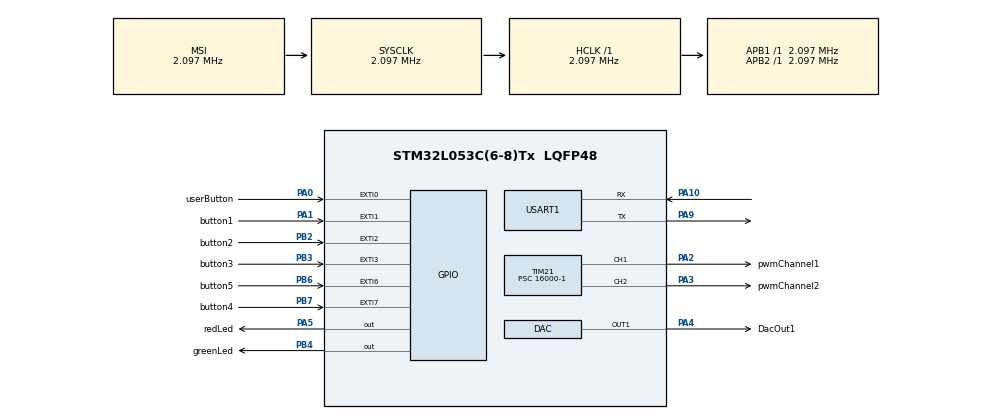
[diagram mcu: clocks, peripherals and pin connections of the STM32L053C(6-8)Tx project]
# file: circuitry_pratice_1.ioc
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DAC.DAC_Trigger=DAC_TRIGGER_T6_TRGO
Dma.DAC_CH1.0.Direction=DMA_MEMORY_TO_PERIPH
Dma.DAC_CH1.0.Instance=DMA1_Channel2
Dma.DAC_CH1.0.MemDataAlignment=DMA_MDATAALIGN_HALFWORD
Dma.DAC_CH1.0.MemInc=DMA_MINC_ENABLE
Dma.DAC_CH1.0.Mode=DMA_CIRCULAR
Dma.DAC_CH1.0.PeriphDataAlignment=DMA_PDATAALIGN_HALFWORD
Dma.DAC_CH1.0.PeriphInc=DMA_PINC_DISABLE
Dma.DAC_CH1.0.Priority=DMA_PRIORITY_HIGH
Dma.Request0=DAC_CH1
Mcu.Family=STM32L0
Mcu.Name=STM32L053C(6-8)Tx
Mcu.Package=LQFP48
NVIC.DMA1_Channel2_3_IRQn=true\:0\:0\:false\:false\:true
NVIC.EXTI0_1_IRQn=true\:0\:0\:false\:true\:true\:1
NVIC.EXTI2_3_IRQn=true\:0\:0\:false\:true\:true\:2
NVIC.EXTI4_15_IRQn=true\:0\:0\:false\:true\:true\:3
NVIC.TIM21_IRQn=true\:0\:0\:false\:true\:true\:5
NVIC.TIM2_IRQn=true\:0\:0\:false\:true\:true\:4
NVIC.USART1_IRQn=true\:0\:0\:false\:false\:true
PA0.GPIO_Label=userButton
PA0.GPIO_ModeDefaultEXTI=GPIO_MODE_IT_RISING_FALLING
PA0.GPIO_PuPd=GPIO_PULLDOWN
PA0.Signal=GPXTI0
PA1.GPIO_Label=button1
PA1.GPIO_ModeDefaultEXTI=GPIO_MODE_IT_RISING_FALLING
PA1.GPIO_PuPd=GPIO_PULLDOWN
PA1.Signal=GPXTI1
PA10.Mode=Asynchronous
PA10.Signal=USART1_RX
PA2.GPIO_Label=pwmChannel1
PA2.GPIO_ModeDefaultPP=GPIO_MODE_AF_PP
PA2.GPIO_PuPd=GPIO_PULLUP
PA2.GPIO_Speed=GPIO_SPEED_FREQ_VERY_HIGH
PA2.Signal=S_TIM21_CH1
PA3.GPIO_Label=pwmChannel2
PA3.Signal=S_TIM21_CH2
PA4.GPIO_Label=DacOut1
PA4.Signal=COMP_DAC1_group
PA5.GPIO_Label=redLed
PA5.GPIO_PuPd=GPIO_PULLDOWN
PA5.Signal=GPIO_Output
PA9.Mode=Asynchronous
PA9.Signal=USART1_TX
PB2.GPIO_Label=button2
PB2.GPIO_ModeDefaultEXTI=GPIO_MODE_IT_RISING_FALLING
PB2.GPIO_PuPd=GPIO_PULLDOWN
PB2.Signal=GPXTI2
PB3.GPIO_Label=button3
PB3.GPIO_ModeDefaultEXTI=GPIO_MODE_IT_RISING_FALLING
PB3.GPIO_PuPd=GPIO_PULLDOWN
PB3.Signal=GPXTI3
PB4.GPIO_Label=greenLed
PB4.GPIO_PuPd=GPIO_PULLDOWN
PB4.Signal=GPIO_Output
PB6.GPIO_Label=button5
PB6.GPIO_ModeDefaultEXTI=GPIO_MODE_IT_RISING_FALLING
PB6.GPIO_PuPd=GPIO_PULLDOWN
PB6.Signal=GPXTI6
PB7.GPIO_Label=button4
PB7.GPIO_ModeDefaultEXTI=GPIO_MODE_IT_RISING_FALLING
PB7.GPIO_PuPd=GPIO_PULLDOWN
PB7.Signal=GPXTI7
ProjectManager.HeapSize=0x200
ProjectManager.StackSize=0x400
ProjectManager.TargetToolchain=MDK-ARM V5
RCC.AHBFreq_Value=2097000
RCC.APB1Freq_Value=2097000
RCC.APB1TimFreq_Value=2097000
RCC.APB2Freq_Value=2097000
RCC.APB2TimFreq_Value=2097000
RCC.HSE_VALUE=8000000
RCC.HSI16_VALUE=16000000
RCC.HSI48_VALUE=48000000
RCC.HSI_VALUE=16000000
RCC.LSE_VALUE=32768
RCC.MSI_VALUE=2097000
RCC.SYSCLKFreq_VALUE=2097000
RCC.VCOOutputFreq_Value=48000000
SH.COMP_DAC1_group.0=DAC_OUT1,DAC_OUT1
SH.S_TIM21_CH1.0=TIM21_CH1,PWM Generation1 CH1
SH.S_TIM21_CH2.0=TIM21_CH2,PWM Generation2 CH2
TIM2.Period=1
TIM2.Prescaler=16000-1
TIM21.Channel-PWM\ Generation1\ CH1=TIM_CHANNEL_1
TIM21.Channel-PWM\ Generation2\ CH2=TIM_CHANNEL_2
TIM21.Period=0
TIM21.Prescaler=16000-1
TIM21.TIM_MasterOutputTrigger=TIM_TRGO_UPDATE
TIM6.Period=32768
TIM6.TIM_MasterOutputTrigger=TIM_TRGO_UPDATE
USART1.VirtualMode-Asynchronous=VM_ASYNC
VP_TIM21_VS_ClockSourceINT.Mode=Internal
VP_TIM2_VS_ClockSourceINT.Mode=Internal
VP_TIM6_VS_ClockSourceINT.Mode=Enable_Timer
board=circuitry_pratice_1

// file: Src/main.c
/**
  ******************************************************************************
  * File Name          : main.c
  * Description        : Main program body
  ******************************************************************************
  ** This notice applies to any and all portions of this file
  * that are not between comment pairs USER CODE BEGIN and
  * USER CODE END. Other portions of this file, whether
  * inserted by the user or by software development tools
  * are owned by their respective copyright owners.
  *
  * COPYRIGHT(c) 2018 STMicroelectronics
  *
  * Redistribution and use in source and binary forms, with or without modification,
  * are permitted provided that the following conditions are met:
  *   1. Redistributions of source code must retain the above copyright notice,
  *      this list of conditions and the following disclaimer.
  *   2. Redistributions in binary form must reproduce the above copyright notice,
  *      this list of conditions and the following disclaimer in the documentation
  *      and/or other materials provided with the distribution.
  *   3. Neither the name of STMicroelectronics nor the names of its contributors
  *      may be used to endorse or promote products derived from this software
  *      without specific prior written permission.
  *
  * THIS SOFTWARE IS PROVIDED BY THE COPYRIGHT HOLDERS AND CONTRIBUTORS "AS IS"
  * AND ANY EXPRESS OR IMPLIED WARRANTIES, INCLUDING, BUT NOT LIMITED TO, THE
  * IMPLIED WARRANTIES OF MERCHANTABILITY AND FITNESS FOR A PARTICULAR PURPOSE ARE
  * DISCLAIMED. IN NO EVENT SHALL THE COPYRIGHT HOLDER OR CONTRIBUTORS BE LIABLE
  * FOR ANY DIRECT, INDIRECT, INCIDENTAL, SPECIAL, EXEMPLARY, OR CONSEQUENTIAL
  * DAMAGES (INCLUDING, BUT NOT LIMITED TO, PROCUREMENT OF SUBSTITUTE GOODS OR
  * SERVICES; LOSS OF USE, DATA, OR PROFITS; OR BUSINESS INTERRUPTION) HOWEVER
  * CAUSED AND ON ANY THEORY OF LIABILITY, WHETHER IN CONTRACT, STRICT LIABILITY,
  * OR TORT (INCLUDING NEGLIGENCE OR OTHERWISE) ARISING IN ANY WAY OUT OF THE USE
  * OF THIS SOFTWARE, EVEN IF ADVISED OF THE POSSIBILITY OF SUCH DAMAGE.
  *
  ******************************************************************************
  */
#include "main.h"
#include "stm32l0xx_hal.h"
#include "dac.h"
#include "dma.h"
#include "tim.h"
#include "usart.h"
#include "gpio.h"

/* USER CODE BEGIN PV */
/* Private variables ---------------------------------------------------------*/

/* USER CODE END PV */

void SystemClock_Config(void);
static void MX_NVIC_Init(void);

/* USER CODE BEGIN PFP */
/* Private function prototypes -----------------------------------------------*/

/* USER CODE END PFP */

/* USER CODE BEGIN 0 */
void HAL_TIM_PWM_MspInit(TIM_HandleTypeDef* htim_pwm)
{
	// NAH
}

void buttonPress(void){
	if (1){ // PHYSICAL BUTTON AT PA1 PRESSED
		toggleGreen();
		//greenLed_GPIO_Port->ODR ^= greenLed_Pin;
	}

}

void pwmInterrupt(void){
	toggleRed();

}

void pwmSetvalue(uint16_t value)
{
    TIM_OC_InitTypeDef sConfigOC;

    sConfigOC.OCMode = TIM_OCMODE_PWM1;
    sConfigOC.Pulse = value;
    sConfigOC.OCPolarity = TIM_OCPOLARITY_HIGH;
    sConfigOC.OCFastMode = TIM_OCFAST_DISABLE;
    HAL_TIM_PWM_ConfigChannel(&htim21, &sConfigOC, TIM_CHANNEL_1);
    HAL_TIM_PWM_Start(&htim21, TIM_CHANNEL_1);
}
/* USER CODE END 0 */

int main(void)
{

  /* MCU Configuration----------------------------------------------------------*/

  /* Reset of all peripherals, Initializes the Flash interface and the Systick. */
  HAL_Init();

  /* USER CODE BEGIN Init */
	HAL_TIM_PWM_DeInit(&htim21);
  /* USER CODE END Init */

  /* Configure the system clock */
  SystemClock_Config();

  /* Initialize all configured peripherals */
  MX_GPIO_Init();
  MX_DMA_Init();
  MX_USART1_UART_Init();
  MX_TIM2_Init();
  MX_TIM21_Init();
  MX_DAC_Init();
  MX_TIM6_Init();

  /* Initialize interrupts */
  MX_NVIC_Init();

  /* Infinite loop */
  /* USER CODE BEGIN WHILE */
	uint16_t pwm_value = 0;
	int16_t step = 100;
	if (HAL_TIM_Base_Start(&htim21) != HAL_OK){
		toggleRed();
	}
	if (HAL_TIM_PWM_Start(&htim21, TIM_CHANNEL_1) != HAL_OK){
		toggleRed();
	}

	//HAL_TIM_Base_Start(&htim6);
  HAL_DAC_Start_DMA(&hdac, DAC_CHANNEL_1, (uint32_t*)sine_wave_array, 32, DAC_ALIGN_12B_R);

  while (1)
  {
  /* USER CODE END WHILE */
  /* USER CODE BEGIN 3 */
		b0 = userButton_GPIO_Port->IDR & userButton_Pin;
		b1 = button1_GPIO_Port->IDR & button1_Pin;
		b2 = button2_GPIO_Port->IDR & button2_Pin;
		b3 = button3_GPIO_Port->IDR & button3_Pin;
		b4 = button4_GPIO_Port->IDR & button4_Pin;
		b5 = button5_GPIO_Port->IDR & button5_Pin;

		if (b0){
			period = 0;
		} else if(b1){
			period = 32 * 100;
		} else if(b2){
			period = 32 * 200;
		} else if(b3){
			period = 32 * 300;
		} else if(b4){
			period = 32 * 400;
		} else if(b5){
			period = 32 * 500;
		} else {
			period = 0;
		}

		if (b0 | b1 | b2 | b3 | b4 | b5 > 0){ // if any button is pushed
			greenLed_GPIO_Port->ODR = greenLed_GPIO_Port->ODR | greenLed_Pin; // turn green on
			__HAL_TIM_SET_AUTORELOAD(&htim6, period);
			HAL_TIM_Base_Start(&htim6);
			HAL_DAC_Start(&hdac,DAC_CHANNEL_1);
		} else {
			greenLed_GPIO_Port->ODR = greenLed_GPIO_Port->ODR & ~greenLed_Pin; // turn green off
			HAL_TIM_Base_Stop(&htim6);
			HAL_DAC_Stop(&hdac, DAC_CHANNEL_1);
		}

  }
  /* USER CODE END 3 */

}

/** System Clock Configuration
*/
void SystemClock_Config(void)
{

  RCC_OscInitTypeDef RCC_OscInitStruct;
  RCC_ClkInitTypeDef RCC_ClkInitStruct;
  RCC_PeriphCLKInitTypeDef PeriphClkInit;

    /**Configure the main internal regulator output voltage
    */
  __HAL_PWR_VOLTAGESCALING_CONFIG(PWR_REGULATOR_VOLTAGE_SCALE1);

    /**Initializes the CPU, AHB and APB busses clocks
    */
  RCC_OscInitStruct.OscillatorType = RCC_OSCILLATORTYPE_MSI;
  RCC_OscInitStruct.MSIState = RCC_MSI_ON;
  RCC_OscInitStruct.MSICalibrationValue = 0;
  RCC_OscInitStruct.MSIClockRange = RCC_MSIRANGE_5;
  RCC_OscInitStruct.PLL.PLLState = RCC_PLL_NONE;
  if (HAL_RCC_OscConfig(&RCC_OscInitStruct) != HAL_OK)
  {
    _Error_Handler(__FILE__, __LINE__);
  }

    /**Initializes the CPU, AHB and APB busses clocks
    */
  RCC_ClkInitStruct.ClockType = RCC_CLOCKTYPE_HCLK|RCC_CLOCKTYPE_SYSCLK
                              |RCC_CLOCKTYPE_PCLK1|RCC_CLOCKTYPE_PCLK2;
  RCC_ClkInitStruct.SYSCLKSource = RCC_SYSCLKSOURCE_MSI;
  RCC_ClkInitStruct.AHBCLKDivider = RCC_SYSCLK_DIV1;
  RCC_ClkInitStruct.APB1CLKDivider = RCC_HCLK_DIV1;
  RCC_ClkInitStruct.APB2CLKDivider = RCC_HCLK_DIV1;

  if (HAL_RCC_ClockConfig(&RCC_ClkInitStruct, FLASH_LATENCY_0) != HAL_OK)
  {
    _Error_Handler(__FILE__, __LINE__);
  }

  PeriphClkInit.PeriphClockSelection = RCC_PERIPHCLK_USART1;
  PeriphClkInit.Usart1ClockSelection = RCC_USART1CLKSOURCE_PCLK2;
  if (HAL_RCCEx_PeriphCLKConfig(&PeriphClkInit) != HAL_OK)
  {
    _Error_Handler(__FILE__, __LINE__);
  }

    /**Configure the Systick interrupt time
    */
  HAL_SYSTICK_Config(HAL_RCC_GetHCLKFreq()/1000);

    /**Configure the Systick
    */
  HAL_SYSTICK_CLKSourceConfig(SYSTICK_CLKSOURCE_HCLK);

  /* SysTick_IRQn interrupt configuration */
  HAL_NVIC_SetPriority(SysTick_IRQn, 0, 0);
}

/** NVIC Configuration
*/
static void MX_NVIC_Init(void)
{
  /* EXTI0_1_IRQn interrupt configuration */
  HAL_NVIC_SetPriority(EXTI0_1_IRQn, 0, 0);
  HAL_NVIC_EnableIRQ(EXTI0_1_IRQn);
  /* EXTI2_3_IRQn interrupt configuration */
  HAL_NVIC_SetPriority(EXTI2_3_IRQn, 0, 0);
  HAL_NVIC_EnableIRQ(EXTI2_3_IRQn);
  /* EXTI4_15_IRQn interrupt configuration */
  HAL_NVIC_SetPriority(EXTI4_15_IRQn, 0, 0);
  HAL_NVIC_EnableIRQ(EXTI4_15_IRQn);
  /* TIM2_IRQn interrupt configuration */
  HAL_NVIC_SetPriority(TIM2_IRQn, 0, 0);
  HAL_NVIC_EnableIRQ(TIM2_IRQn);
  /* TIM21_IRQn interrupt configuration */
  HAL_NVIC_SetPriority(TIM21_IRQn, 0, 0);
  HAL_NVIC_EnableIRQ(TIM21_IRQn);
}

void _Error_Handler(char * file, int line)
{
  while(1)
  {
  }
}

/************************ (C) COPYRIGHT STMicroelectronics *****END OF FILE****/
